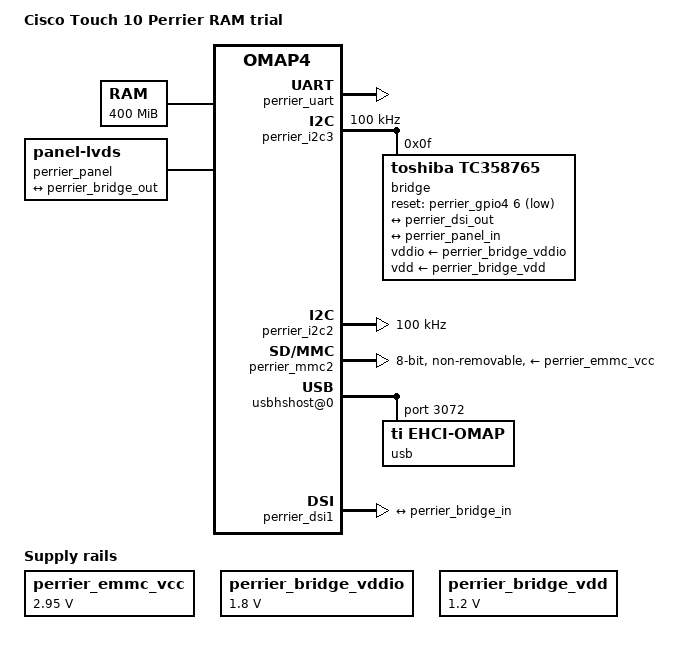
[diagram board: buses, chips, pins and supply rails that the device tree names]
// SPDX-License-Identifier: GPL-2.0-only
// RAM trial: passive simpledrm handoff, UART, USB Ethernet, MMC2, and I2C.
/dts-v1/;
#include "omap4460.dtsi"
#include <dt-bindings/gpio/gpio.h>

/ {
    model = "Cisco Touch 10 Perrier RAM trial";
    compatible = "cisco,perrier-ram", "ti,omap4460", "ti,omap4";
    memory@80000000 {
        device_type = "memory";
        reg = <0x80000000 0x19000000>; // observed low 400 MiB only
    };
    chosen {
        #address-cells = <1>;
        #size-cells = <1>;
        ranges;
        stdout-path = "serial0:115200n8";

        // Stock Phoenix rotates among three contiguous 1280x800 AR24 TILER
        // views. Map the complete inherited pool so userspace can address
        // the current scanout without changing any display hardware state.
        // simpledrm registration only: no fbdev client, console, or pixel write.
        framebuffer@7ec78000 {
            compatible = "simple-framebuffer";
            reg = <0x7ec78000 0x00bb8000>;
            width = <1280>;
            height = <800>;
            stride = <5120>;
            format = "a8r8g8b8";
        };
    };
    aliases {
        serial0 = &perrier_uart;
        mmc0 = &perrier_mmc2;
        i2c1 = &perrier_i2c2;
        i2c2 = &perrier_i2c3;
        /delete-property/ i2c0;
        /delete-property/ i2c3;
        /delete-property/ serial1;
        /delete-property/ serial2;
        /delete-property/ serial3;
        /delete-property/ mmc1;
        /delete-property/ mmc2;
        /delete-property/ mmc3;
        /delete-property/ mmc4;
    };
    // Stock UART3 is already muxed and clocked at 48 MHz. No pad/GPIO writes.
    perrier_uart: serial@48020000 {
        compatible = "ti,omap4-uart";
        reg = <0x48020000 0x100>;
        interrupts = <GIC_SPI 74 IRQ_TYPE_LEVEL_HIGH>;
        interrupt-parent = <&gic>;
        clock-frequency = <48000000>;
    };

    // Stock board data advertises OCR bit 0x20000 (2.9-3.0 V) for MMC2.
    // This fixed-regulator declaration has no enable GPIO and cannot change
    // the physical rail. The real board power sequence is still inherited.
    perrier_emmc_vcc: regulator-emmc-vcc {
        compatible = "regulator-fixed";
        regulator-name = "perrier-emmc-vcc";
        regulator-min-microvolt = <2950000>;
        regulator-max-microvolt = <2950000>;
        regulator-always-on;
    };

    // OMAP I2C3 is the stock display bridge bus at 0x48060000. Register
    // only the controller; do not instantiate the bridge or issue transfers.
    target-module@48060000 {
        compatible = "ti,sysc-omap2", "ti,sysc";
        reg = <0x48060000 0x8>, <0x48060010 0x8>, <0x48060090 0x8>;
        reg-names = "rev", "sysc", "syss";
        ti,sysc-mask = <(SYSC_OMAP2_CLOCKACTIVITY |
                         SYSC_OMAP2_ENAWAKEUP |
                         SYSC_OMAP2_SOFTRESET |
                         SYSC_OMAP2_AUTOIDLE)>;
        ti,sysc-sidle = <SYSC_IDLE_FORCE>, <SYSC_IDLE_NO>,
                        <SYSC_IDLE_SMART>, <SYSC_IDLE_SMART_WKUP>;
        ti,syss-mask = <1>;
        clocks = <&l4_per_clkctrl OMAP4_I2C3_CLKCTRL 0>;
        clock-names = "fck";
        #address-cells = <1>;
        #size-cells = <1>;
        ranges = <0 0x48060000 0x1000>;

        perrier_i2c3: i2c@0 {
            compatible = "ti,omap4-i2c";
            reg = <0 0x100>;
            interrupts = <GIC_SPI 61 IRQ_TYPE_LEVEL_HIGH>;
            clock-frequency = <100000>;
            #address-cells = <1>;
            #size-cells = <0>;
        };
    };

    // OMAP I2C2 is the stock touchscreen bus at 0x48072000. Probe only the
    // controller: no child device, GPIO, pinmux or regulator is present.
    target-module@48072000 {
        compatible = "ti,sysc-omap2", "ti,sysc";
        reg = <0x48072000 0x8>, <0x48072010 0x8>, <0x48072090 0x8>;
        reg-names = "rev", "sysc", "syss";
        ti,sysc-mask = <(SYSC_OMAP2_CLOCKACTIVITY |
                         SYSC_OMAP2_ENAWAKEUP |
                         SYSC_OMAP2_SOFTRESET |
                         SYSC_OMAP2_AUTOIDLE)>;
        ti,sysc-sidle = <SYSC_IDLE_FORCE>, <SYSC_IDLE_NO>,
                        <SYSC_IDLE_SMART>, <SYSC_IDLE_SMART_WKUP>;
        ti,syss-mask = <1>;
        clocks = <&l4_per_clkctrl OMAP4_I2C2_CLKCTRL 0>;
        clock-names = "fck";
        #address-cells = <1>;
        #size-cells = <1>;
        ranges = <0 0x48072000 0x1000>;

        perrier_i2c2: i2c@0 {
            compatible = "ti,omap4-i2c";
            reg = <0 0x100>;
            interrupts = <GIC_SPI 57 IRQ_TYPE_LEVEL_HIGH>;
            clock-frequency = <100000>;
            #address-cells = <1>;
            #size-cells = <0>;
        };
    };

    // MMC2 requires the OMAP system DMA controller in Linux 6.18.
    target-module@4a056000 {
        compatible = "ti,sysc-omap2", "ti,sysc";
        reg = <0x4a056000 0x4>, <0x4a05602c 0x4>, <0x4a056028 0x4>;
        reg-names = "rev", "sysc", "syss";
        ti,sysc-mask = <(SYSC_OMAP2_CLOCKACTIVITY |
                         SYSC_OMAP2_EMUFREE |
                         SYSC_OMAP2_SOFTRESET |
                         SYSC_OMAP2_AUTOIDLE)>;
        ti,sysc-midle = <SYSC_IDLE_FORCE>, <SYSC_IDLE_NO>, <SYSC_IDLE_SMART>;
        ti,sysc-sidle = <SYSC_IDLE_FORCE>, <SYSC_IDLE_NO>, <SYSC_IDLE_SMART>;
        ti,syss-mask = <1>;
        clocks = <&l3_dma_clkctrl OMAP4_DMA_SYSTEM_CLKCTRL 0>;
        clock-names = "fck";
        #address-cells = <1>;
        #size-cells = <1>;
        ranges = <0 0x4a056000 0x1000>;

        perrier_sdma: dma-controller@0 {
            compatible = "ti,omap4430-sdma", "ti,omap-sdma";
            reg = <0 0x1000>;
            interrupts = <GIC_SPI 12 IRQ_TYPE_LEVEL_HIGH>,
                         <GIC_SPI 13 IRQ_TYPE_LEVEL_HIGH>,
                         <GIC_SPI 14 IRQ_TYPE_LEVEL_HIGH>,
                         <GIC_SPI 15 IRQ_TYPE_LEVEL_HIGH>;
            #dma-cells = <1>;
            dma-channels = <32>;
            dma-requests = <127>;
        };
    };

    target-module@480b4000 {
        compatible = "ti,sysc-omap4", "ti,sysc";
        reg = <0x480b4000 0x4>, <0x480b4010 0x4>;
        reg-names = "rev", "sysc";
        ti,sysc-mask = <(SYSC_OMAP4_FREEEMU | SYSC_OMAP4_SOFTRESET)>;
        ti,sysc-midle = <SYSC_IDLE_FORCE>, <SYSC_IDLE_NO>,
                         <SYSC_IDLE_SMART>, <SYSC_IDLE_SMART_WKUP>;
        ti,sysc-sidle = <SYSC_IDLE_FORCE>, <SYSC_IDLE_NO>,
                         <SYSC_IDLE_SMART>, <SYSC_IDLE_SMART_WKUP>;
        clocks = <&l3_init_clkctrl OMAP4_MMC2_CLKCTRL 0>;
        clock-names = "fck";
        #address-cells = <1>;
        #size-cells = <1>;
        ranges = <0 0x480b4000 0x1000>;

        perrier_mmc2: mmc@0 {
            compatible = "ti,omap4-hsmmc";
            reg = <0 0x400>;
            interrupts = <GIC_SPI 86 IRQ_TYPE_LEVEL_HIGH>;
            ti,needs-special-reset;
            non-removable;
            ti,non-removable;
            bus-width = <8>;
            max-frequency = <26000000>;
            vmmc-supply = <&perrier_emmc_vcc>;
            dmas = <&perrier_sdma 47>, <&perrier_sdma 48>;
            dma-names = "tx", "rx";
        };
    };

    // Only the OMAP USB host target is populated. Its port 1 connects to the
    // board's already powered external PHY and SMSC95xx LAN chip. The stock
    // GPIO/pad state is inherited across kexec; this DT makes no GPIO writes.
    target-module@4a064000 {
        compatible = "ti,sysc-omap4", "ti,sysc";
        reg = <0x4a064000 0x4>, <0x4a064010 0x4>, <0x4a064014 0x4>;
        reg-names = "rev", "sysc", "syss";
        ti,sysc-mask = <SYSC_OMAP4_SOFTRESET>;
        ti,sysc-midle = <SYSC_IDLE_FORCE>, <SYSC_IDLE_NO>,
                         <SYSC_IDLE_SMART>, <SYSC_IDLE_SMART_WKUP>;
        ti,sysc-sidle = <SYSC_IDLE_FORCE>, <SYSC_IDLE_NO>,
                         <SYSC_IDLE_SMART>, <SYSC_IDLE_SMART_WKUP>;
        clocks = <&l3_init_clkctrl OMAP4_USB_HOST_HS_CLKCTRL 0>;
        clock-names = "fck";
        #address-cells = <1>;
        #size-cells = <1>;
        ranges = <0 0x4a064000 0x1000>;

        usbhshost@0 {
            compatible = "ti,usbhs-host";
            reg = <0 0x800>;
            num-ports = <2>;
            port1-mode = "ehci-phy";
            #address-cells = <1>;
            #size-cells = <1>;
            ranges = <0 0 0x1000>;
            clocks = <&l3_init_clkctrl OMAP4_USB_HOST_HS_CLKCTRL 24>,
                     <&l3_init_clkctrl OMAP4_USB_HOST_HS_CLKCTRL 25>,
                     <&xclk60mhsp1_ck>, <&xclk60mhsp2_ck>,
                     <&init_60m_fclk>,
                     <&l3_init_clkctrl OMAP4_USB_HOST_HS_CLKCTRL 8>,
                     <&l3_init_clkctrl OMAP4_USB_HOST_HS_CLKCTRL 9>,
                     <&l3_init_clkctrl OMAP4_USB_HOST_HS_CLKCTRL 13>,
                     <&l3_init_clkctrl OMAP4_USB_HOST_HS_CLKCTRL 14>,
                     <&l3_init_clkctrl OMAP4_USB_HOST_HS_CLKCTRL 11>,
                     <&l3_init_clkctrl OMAP4_USB_HOST_HS_CLKCTRL 12>;
            clock-names = "utmi_p1_gfclk", "utmi_p2_gfclk",
                          "refclk_60m_ext_p1", "refclk_60m_ext_p2",
                          "refclk_60m_int",
                          "usb_host_hs_utmi_p1_clk", "usb_host_hs_utmi_p2_clk",
                          "usb_host_hs_hsic480m_p1_clk", "usb_host_hs_hsic480m_p2_clk",
                          "usb_host_hs_hsic60m_p1_clk", "usb_host_hs_hsic60m_p2_clk";

            usb@c00 {
                compatible = "ti,ehci-omap";
                reg = <0xc00 0x400>;
                interrupts = <GIC_SPI 77 IRQ_TYPE_LEVEL_HIGH>;
                #address-cells = <1>;
                #size-cells = <0>;

                ethernet@1 {
                    compatible = "usb424,9e00";
                    reg = <1>;
                    local-mac-address = [24 16 9d b6 77 bb];
                };
            };
        };
    };
};

// Native display stage. The logical regulators have no control GPIO and do
// not change board voltages. Their names match the TC358765 supply pins;
// stock kexec must leave those physical rails on for this stage to work.
&{/} {
    perrier_bridge_vddio: regulator-bridge-vddio {
        compatible = "regulator-fixed";
        regulator-name = "perrier-bridge-vddio-logic-only";
        regulator-min-microvolt = <1800000>;
        regulator-max-microvolt = <1800000>;
        regulator-always-on;
    };
    perrier_bridge_vdd: regulator-bridge-vdd {
        compatible = "regulator-fixed";
        regulator-name = "perrier-bridge-vdd-logic-only";
        regulator-min-microvolt = <1200000>;
        regulator-max-microvolt = <1200000>;
        regulator-always-on;
    };
    target-module@48059000 {
        compatible = "ti,sysc-omap2", "ti,sysc";
        reg = <0x48059000 4>, <0x48059010 4>, <0x48059114 4>;
        reg-names = "rev", "sysc", "syss";
        ti,no-reset-on-init;
        ti,sysc-mask = <(SYSC_OMAP2_ENAWAKEUP |
                         SYSC_OMAP2_SOFTRESET |
                         SYSC_OMAP2_AUTOIDLE)>;
        ti,sysc-sidle = <SYSC_IDLE_FORCE>, <SYSC_IDLE_NO>,
                        <SYSC_IDLE_SMART>, <SYSC_IDLE_SMART_WKUP>;
        ti,syss-mask = <1>;
        clocks = <&l4_per_clkctrl OMAP4_GPIO4_CLKCTRL 0>,
                 <&l4_per_clkctrl OMAP4_GPIO4_CLKCTRL 8>;
        clock-names = "fck", "dbclk";
        #address-cells = <1>;
        #size-cells = <1>;
        ranges = <0 0x48059000 0x1000>;
        perrier_gpio4: gpio@0 {
            compatible = "ti,omap4-gpio";
            reg = <0 0x200>;
            interrupts = <GIC_SPI 32 IRQ_TYPE_LEVEL_HIGH>;
            gpio-controller;
            #gpio-cells = <2>;
            interrupt-controller;
            #interrupt-cells = <2>;
        };
    };
    target-module@58000000 {
        compatible = "ti,sysc-omap2", "ti,sysc";
        reg = <0x58000000 4>, <0x58000014 4>;
        reg-names = "rev", "syss";
        ti,syss-mask = <1>;
        clocks = <&l3_dss_clkctrl OMAP4_DSS_CORE_CLKCTRL 0>,
                 <&l3_dss_clkctrl OMAP4_DSS_CORE_CLKCTRL 9>,
                 <&l3_dss_clkctrl OMAP4_DSS_CORE_CLKCTRL 10>,
                 <&l3_dss_clkctrl OMAP4_DSS_CORE_CLKCTRL 11>;
        clock-names = "fck", "hdmi_clk", "sys_clk", "tv_clk";
        #address-cells = <1>;
        #size-cells = <1>;
        ranges = <0 0x58000000 0x1000000>;

        perrier_dss: dss@0 {
            compatible = "ti,omap4-dss";
            reg = <0 0x80>;
            clocks = <&l3_dss_clkctrl OMAP4_DSS_CORE_CLKCTRL 8>;
            clock-names = "fck";
            #address-cells = <1>;
            #size-cells = <1>;
            ranges = <0 0 0x1000000>;

            target-module@1000 {
                compatible = "ti,sysc-omap2", "ti,sysc";
                reg = <0x1000 4>, <0x1010 4>, <0x1014 4>;
                reg-names = "rev", "sysc", "syss";
                ti,sysc-sidle = <SYSC_IDLE_FORCE>, <SYSC_IDLE_NO>, <SYSC_IDLE_SMART>;
                ti,sysc-midle = <SYSC_IDLE_FORCE>, <SYSC_IDLE_NO>, <SYSC_IDLE_SMART>;
                ti,sysc-mask = <(SYSC_OMAP2_CLOCKACTIVITY |
                                 SYSC_OMAP2_ENAWAKEUP |
                                 SYSC_OMAP2_SOFTRESET |
                                 SYSC_OMAP2_AUTOIDLE)>;
                ti,syss-mask = <1>;
                clocks = <&l3_dss_clkctrl OMAP4_DSS_CORE_CLKCTRL 8>,
                         <&l3_dss_clkctrl OMAP4_DSS_CORE_CLKCTRL 10>;
                clock-names = "fck", "sys_clk";
                #address-cells = <1>;
                #size-cells = <1>;
                ranges = <0 0x1000 0x1000>;
                dispc@0 {
                    compatible = "ti,omap4-dispc";
                    reg = <0 0x1000>;
                    interrupts = <GIC_SPI 25 IRQ_TYPE_LEVEL_HIGH>;
                    clocks = <&l3_dss_clkctrl OMAP4_DSS_CORE_CLKCTRL 8>;
                    clock-names = "fck";
                };
            };

            target-module@4000 {
                compatible = "ti,sysc-omap2", "ti,sysc";
                reg = <0x4000 4>, <0x4010 4>, <0x4014 4>;
                reg-names = "rev", "sysc", "syss";
                ti,sysc-sidle = <SYSC_IDLE_FORCE>, <SYSC_IDLE_NO>,
                                <SYSC_IDLE_SMART>;
                ti,sysc-mask = <(SYSC_OMAP2_CLOCKACTIVITY |
                                 SYSC_OMAP2_ENAWAKEUP |
                                 SYSC_OMAP2_SOFTRESET |
                                 SYSC_OMAP2_AUTOIDLE)>;
                ti,syss-mask = <1>;
                #address-cells = <1>;
                #size-cells = <1>;
                ranges = <0 0x4000 0x1000>;
                perrier_dsi1: encoder@0 {
                    compatible = "ti,omap4-dsi";
                    reg = <0 0x200>, <0x200 0x40>, <0x300 0x20>;
                    reg-names = "proto", "phy", "pll";
                    interrupts = <GIC_SPI 53 IRQ_TYPE_LEVEL_HIGH>;
                    clocks = <&l3_dss_clkctrl OMAP4_DSS_CORE_CLKCTRL 8>,
                             <&l3_dss_clkctrl OMAP4_DSS_CORE_CLKCTRL 10>;
                    clock-names = "fck", "sys_clk";
                    #address-cells = <1>;
                    #size-cells = <0>;
                    port {
                        perrier_dsi_out: endpoint {
                            remote-endpoint = <&perrier_bridge_in>;
                            // Stock DSI_COMPLEXIO_CFG1 = 0x2a054321.
                            lanes = <0 1 2 3 4 5 6 7 8 9>;
                        };
                    };
                };
            };
        };
    };

    perrier_panel: panel {
        compatible = "panel-lvds";
        data-mapping = "vesa-24";
        // Approximate mechanical size; only timing and mapping are electrical.
        width-mm = <217>;
        height-mm = <136>;
        panel-timing {
            clock-frequency = <71078000>;
            hactive = <1280>;
            hfront-porch = <78>;
            hback-porch = <79>;
            hsync-len = <3>;
            vactive = <800>;
            vfront-porch = <12>;
            vback-porch = <10>;
            vsync-len = <1>;
        };
        port {
            perrier_panel_in: endpoint {
                remote-endpoint = <&perrier_bridge_out>;
            };
        };
    };
};

&perrier_i2c3 {
    bridge@f {
        compatible = "toshiba,tc358765";
        reg = <0x0f>;
        vddio-supply = <&perrier_bridge_vddio>;
        vdd-supply = <&perrier_bridge_vdd>;
        // Stock GPIO102 is high in operation, low while reset is asserted.
        reset-gpios = <&perrier_gpio4 6 GPIO_ACTIVE_LOW>;
        ports {
            #address-cells = <1>;
            #size-cells = <0>;
            port@0 {
                reg = <0>;
                perrier_bridge_in: endpoint {
                    remote-endpoint = <&perrier_dsi_out>;
                    data-lanes = <1 2 3 4>;
                };
            };
            port@1 {
                reg = <1>;
                perrier_bridge_out: endpoint {
                    remote-endpoint = <&perrier_panel_in>;
                };
            };
        };
    };
};

&{/chosen/framebuffer@7ec78000} { status = "disabled"; };

// Do not populate generic peripheral targets. Early OF clock and timer
// initialization uses the retained SoC descriptions independently of this bus.
&{/ocp} { status = "disabled"; };
&cpu0 { /delete-property/ operating-points; };
&{/cpus/cpu@1} { status = "disabled"; };
&abb_mpu { status = "disabled"; };
&abb_iva { status = "disabled"; };
&bandgap { status = "disabled"; };
&{/thermal-zones} { status = "disabled"; };
&{/local-timer@48240600} { status = "disabled"; };

// Both watchdog targets must be invisible to ti-sysc and watchdog drivers.
&wdt2 { status = "disabled"; };
&wdt3 { status = "disabled"; };
&{/ocp/interconnect@4a300000/segment@10000/target-module@4000} {
    status = "disabled";
};
&{/ocp/interconnect@40100000/segment@0/target-module@30000} {
    status = "disabled";
};
// Prevent early timer discovery from choosing another board's peripheral.
&timer2 { status = "disabled"; };
&timer3 { status = "disabled"; };
&timer4 { status = "disabled"; };
&timer5 { status = "disabled"; };
&timer6 { status = "disabled"; };
&timer7 { status = "disabled"; };
&timer8 { status = "disabled"; };
&timer9 { status = "disabled"; };
&timer10 { status = "disabled"; };
&timer11 { status = "disabled"; };
